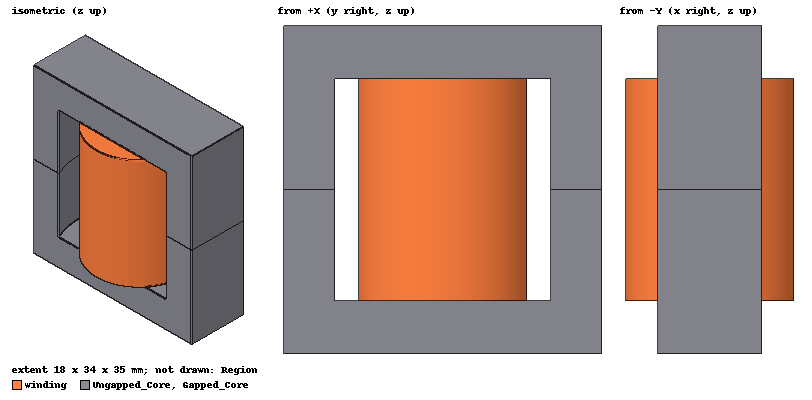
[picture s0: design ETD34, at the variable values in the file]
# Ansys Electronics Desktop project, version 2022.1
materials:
  vacuum: permittivity=1
  ferrite: permittivity=12 permeability=1000 conductivity=0.01
  ferriteN87: permittivity=12 permeability=1650 conductivity=0.01
  copper: permeability=0.999991 conductivity=58000000
  air: permittivity=1.0006 permeability=1.0000004
  N87: permittivity=12 permeability=1670 conductivity=0.01

design ETD34 (Maxwell 3D, Magnetostatic, model units mm)
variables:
  gap = 0.5mm
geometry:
  Box1 = box(corner=(0mm, 0mm, 0mm), size=(11.1mm, 34mm, 17.5mm))
  coordinate_system RelativeCS1 = origin=(5.5mm, 17mm, 5.7mm) x=(1mm, 0mm, 0mm) y=(0mm, 1mm, 0mm)
  Cylinder1 = cylinder(axis=Z, base_centre=(0mm, 0mm, 0mm), radius=12.8mm, height=11.8mm) in RelativeCS1
  Box1.subtract(Cylinder1)
  Ungapped_Core [N87] = cylinder(axis=Z, base_centre=(0mm, 0mm, 0mm), radius=5.55mm, height=11.8mm) in RelativeCS1
  Ungapped_Core.unite(Box1)
  coordinate_system RelativeCS2 = origin=(0mm, 0mm, 35mm) x=(1mm, 0mm, 0mm) y=(0mm, 1mm, 0mm)
  Gapped_Core [N87] = box(corner=(0mm, 0mm, 0mm), size=(11.1mm, 34mm, -17.5mm)) in RelativeCS2
  coordinate_system RelativeCS3 = origin=(5.5mm, 17mm, -5.7mm) x=(1mm, 0mm, 0mm) y=(0mm, 1mm, 0mm) in RelativeCS2
  Cylinder3 = cylinder(axis=Z, base_centre=(0mm, 0mm, 0mm), radius=12.8mm, height=-11.8mm) in RelativeCS3
  Gapped_Core.subtract(Cylinder3)
  Cylinder4 = cylinder(axis=Z, base_centre=(0mm, 0mm, 0mm), radius=5.55mm, height=-11.8mm + gap) in RelativeCS3
  Gapped_Core.unite(Cylinder4)
  Region [vacuum] = region(percentage_offset=100 on all sides) in RelativeCS3
  winding [copper] = cylinder(axis=Z, base_centre=(0mm, 0mm, 0mm), radius=9mm, height=23.6mm) in RelativeCS1
  Cylinder6 = cylinder(axis=Z, base_centre=(0mm, 0mm, 0mm), radius=5.55mm, height=23.6mm) in RelativeCS1
  winding.subtract(Cylinder6)
  terminal [copper] = winding.section(plane=YZ) in RelativeCS1
  terminal.separate_bodies()
  coordinate_system RelativeCS4 = origin=(5.5mm, 17mm, 17.5mm) x=(1mm, 0mm, 0mm) y=(0mm, 1mm, 0mm)
  Barea [non-model] = circle(normal=Z, centre=(0mm, 0mm, 0mm), radius=30mm) in RelativeCS4
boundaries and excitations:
  coil_current: Current Objects=terminal Current=130.5A IsSolid=false Point_out_of_terminal=false
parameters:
  Matrix1: Matrix coil_current: NumberOfTurns=37
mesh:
  initial mesh: GlobalCurvilinear{Apply}
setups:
  Setup1: Magnetostatic MaximumPasses=10 MinimumPasses=6 MinimumConvergedPasses=2 PercentRefinement=30 PercentError=1 NonLinearResidual=0.001
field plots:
  Mag_B1: B over a plane on Setup1 : LastAdaptive
